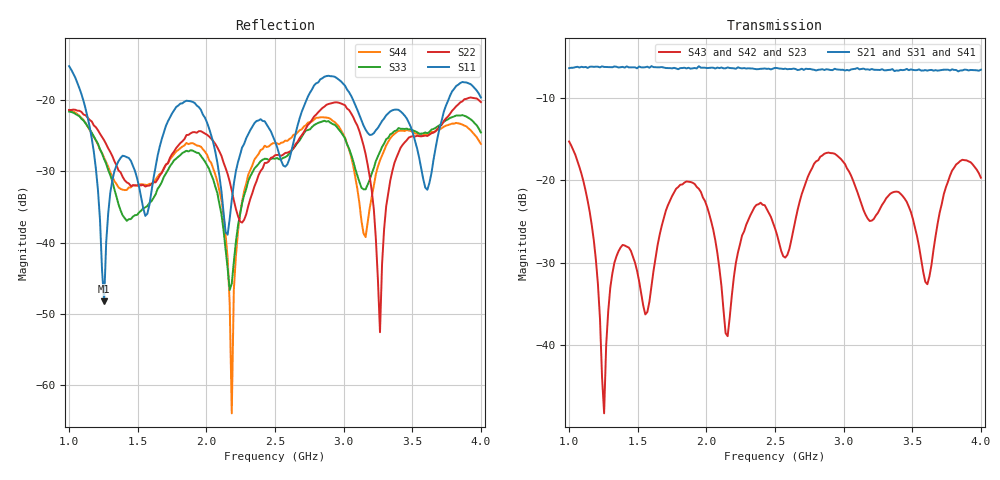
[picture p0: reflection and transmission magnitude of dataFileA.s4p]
! File created by 'SoftPlot Measurement Presentation'
! SoftPlot Measurement Presentation
! Start 1.000000000000 GHz  Stop 4.000000000000 GHz  Points 201
!S11 = Input VSWR
!S22 = Output VSWR Port 2
!S33 = Output VSWR Port 3
!S44 = Output VSWR Port 4
!S12 = (Actually S55) Output VSWR Port 5
!S21 = Insertion Loss Port 2
!S31 = Insertion Loss Port 3
!S41 = Insertion Loss Port 4
!S13 = (Actually S51) Insertion Loss Port 5
!S32 = Isolation from ports 2 to 3
!S34 = Isolation from ports 3 to 4
!S14 = (Actually S45) Isolation from ports 4 to 5
# MHZ S RI R 50
! S-Parameter data...
! F S11 S12 ... S1n
!  S21 S22 ... S2n
!  Sn1 Sn2 ... Snn
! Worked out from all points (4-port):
!   201 points, 1 GHz to 4 GHz, reference 50 ohm
!   strongest paths, dB at 1 GHz, 1.75 GHz, 2.5 GHz, 3.25 GHz, 4 GHz:
!     S21: -6.4, -6.4, -6.4, -6.6, -6.6
!     S31: -6.4, -6.4, -6.4, -6.6, -6.6
!     S41: -6.4, -6.3, -6.4, -6.7, -6.6
!     S43: -15.3, -21.9, -25.8, -23.9, -19.7
!     S42: -15.3, -21.9, -25.8, -23.9, -19.7
!     S23: -15.3, -21.9, -25.8, -23.9, -19.7
!   lowest |S11| = -48.2 dB at 1.255 GHz (marker M1), VSWR 1.01, Z = 49.7 + j0.195 ohm
!   |S11| at or under -10 dB: start of sweep to end of sweep
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1000  0.1662 0.045  -0.0583 0.0546  0.4655 0.1143  -0.0199 0.0497
      0.4685 0.1029  -0.0567 0.0634  0.1662 0.045  0.1662 0.045
      0.4675 0.1077  -0.0246 0.0514  -0.0647 0.0516  -0.0103 0.0147
      0.4675 0.1104  0.1662 0.045  0.1662 0.045  -0.0669 0.0518
1255  -0.00334 0.00197  0.0145 0.0364  0.1043 -0.4714  0.0175 -0.0301
      0.0962 -0.4783  0.0234 0.0466  -0.00334 0.00197  -0.00334 0.00197
      0.1048 -0.4768  0.0179 -0.027  0.012 0.0365  -0.0146 -0.00783
      0.1042 -0.472  -0.00334 0.00197  -0.00334 0.00197  0.00321 0.0392
2035  0.056 0.00794  0.0248 0.0241  0.479 0.046  0.0164 0.0216
      0.4819 0.0279  0.0468 0.0261  0.056 0.00794  0.056 0.00794
      0.4762 0.0384  0.0187 0.0202  0.0238 0.0182  -0.00434 0.00217
      0.4753 0.0433  0.056 0.00794  0.056 0.00794  0.0249 0.0264
2185  0.000793 0.0199  0.0029 0.000313  0.3128 -0.3603  -0.00399 -0.0168
      0.2998 -0.374  0.023 0.0028  0.000793 0.0199  0.000793 0.0199
      0.3086 -0.3667  -0.00394 -0.0154  -0.00283 -0.00431  -0.00786 -8.58e-05
      0.3137 -0.3636  0.000793 0.0199  0.000793 0.0199  -0.000524 -0.000363
2395  0.0619 0.0392  -0.0155 0.034  -0.2634 -0.3891  -0.0435 0.0101
      -0.2815 -0.3833  0.00988 0.0302  0.0619 0.0392  0.0619 0.0392
      -0.272 -0.385  -0.0381 0.0106  -0.0224 0.0297  0.00778 0.0164
      -0.2643 -0.3897  0.0619 0.0392  0.0619 0.0392  -0.0253 0.0366
3265  0.0651 0.0169  -0.0201 0.0163  0.0585 -0.4614  -0.0393 0.00684
      0.0352 -0.4663  -0.00161 0.00172  0.0651 0.0169  0.0651 0.0169
      0.0481 -0.4654  -0.0378 0.00611  -0.0318 0.0296  -0.00619 0.00827
      0.0539 -0.4641  0.0651 0.0169  0.0651 0.0169  -0.0199 0.0321
4000  0.1039 -0.00146  0.0213 -0.0712  0.471 0.0119  0.00877 -0.023
      0.4691 -0.0115  0.0186 -0.0947  0.1039 -0.00146  0.1039 -0.00146
      0.465 0.0105  0.0064 -0.0326  0.0184 -0.0562  -0.00378 0.00219
      0.4663 0.0164  0.1039 -0.00146  0.1039 -0.00146  0.00268 -0.0491
